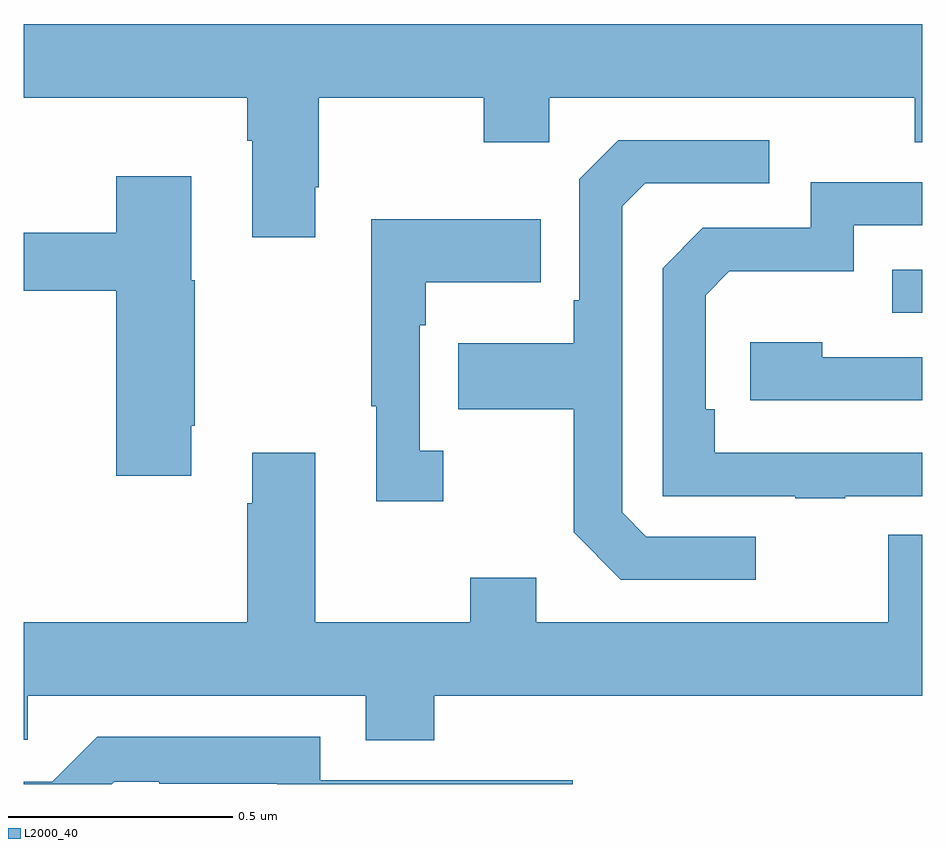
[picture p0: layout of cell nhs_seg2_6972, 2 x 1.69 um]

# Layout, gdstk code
import gdstk
lib = gdstk.Library(unit=1e-6, precision=1e-09)
def R(c, l, rs):  # rectangles x0, y0, x1, y1
    for r in rs: c.add(gdstk.rectangle(r[:2], r[2:], *l))
def P(c, l, *ps):  # polygons
    for p in ps: c.add(gdstk.Polygon(p, *l))
L2000_40 = (2000, 40)

nhs_seg2_6972 = lib.new_cell('nhs_seg2_6972')
R(nhs_seg2_6972, L2000_40, [(199.933,621.849,200,621.945)])
P(nhs_seg2_6972, L2000_40, [(198.649,622.129),(198.657,622.129),(198.657,622.328),(199.024,622.328),(199.024,622.229),(199.17,622.229),(199.17,622.328),(199.984,622.328),(199.984,622.229),(200,622.229),(200,622.492),(198,622.492),(198,622.328),(198.497,622.328),(198.497,622.232),(198.509,622.232),(198.509,622.017),(198.649,622.017)],
  [(199.63,621.351),(199.386,621.351),(199.332,621.405),(199.332,622.086),(199.383,622.137),(199.66,622.137),(199.66,622.233),(199.323,622.233),(199.236,622.146),(199.236,621.877),(199.224,621.877),(199.224,621.781),(198.967,621.781),(198.967,621.634),(199.224,621.634),(199.224,621.361),(199.329,621.255),(199.63,621.255)],
  [(198.373,621.598),(198.381,621.598),(198.381,621.921),(198.373,621.921),(198.373,622.153),(198.206,622.153),(198.206,622.027),(198,622.027),(198,621.898),(198.206,621.898),(198.206,621.486),(198.373,621.486)],
  [(199.829,621.441),(200,621.441),(200,621.537),(199.538,621.537),(199.538,621.634),(199.518,621.634),(199.518,621.888),(199.571,621.941),(199.848,621.941),(199.848,622.044),(200,622.044),(200,622.14),(199.752,622.14),(199.752,622.038),(199.512,622.038),(199.422,621.948),(199.422,621.441),(199.717,621.441),(199.717,621.436),(199.829,621.436)],
  [(198.934,621.542),(198.882,621.542),(198.882,621.821),(198.895,621.821),(198.895,621.917),(199.151,621.917),(199.151,622.057),(198.774,622.057),(198.774,621.641),(198.785,621.641),(198.785,621.429),(198.934,621.429)],
  [(200,621.75),(199.778,621.75),(199.778,621.784),(199.617,621.784),(199.617,621.654),(200,621.654)],
  [(198.914,620.996),(200,620.996),(200,621.355),(199.925,621.355),(199.925,621.16),(199.141,621.16),(199.141,621.259),(198.994,621.259),(198.994,621.16),(198.649,621.16),(198.649,621.538),(198.509,621.538),(198.509,621.425),(198.497,621.425),(198.497,621.16),(198,621.16),(198,620.898),(198.009,620.898),(198.009,620.996),(198.761,620.996),(198.761,620.897),(198.914,620.897)],
  [(198.201,620.805),(198.301,620.805),(198.301,620.801),(198.564,620.801),(198.564,620.8),(199.222,620.8),(199.222,620.808),(198.66,620.808),(198.66,620.905),(198.163,620.905),(198.063,620.805),(198,620.805),(198,620.8),(198.196,620.8)])

lib.write_gds('nhs_seg2_6972.gds')
